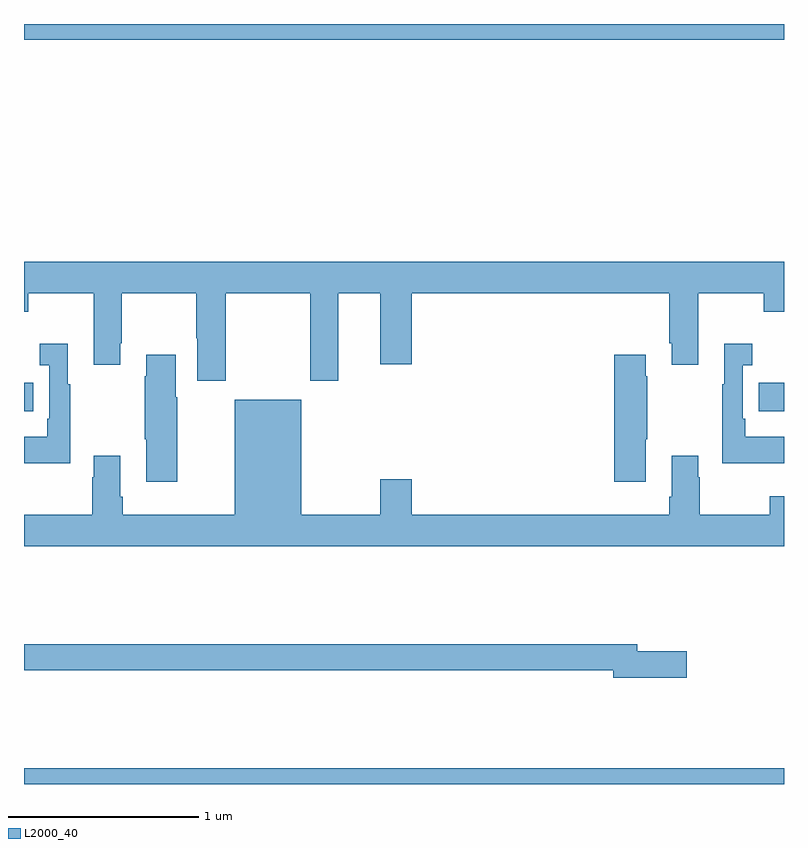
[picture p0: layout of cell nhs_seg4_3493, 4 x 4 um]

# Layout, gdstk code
import gdstk
lib = gdstk.Library(unit=1e-6, precision=1e-09)
def R(c, l, rs):  # rectangles x0, y0, x1, y1
    for r in rs: c.add(gdstk.rectangle(r[:2], r[2:], *l))
def P(c, l, *ps):  # polygons
    for p in ps: c.add(gdstk.Polygon(p, *l))
L2000_40 = (2000, 40)

nhs_seg4_3493 = lib.new_cell('nhs_seg4_3493')
R(nhs_seg4_3493, L2000_40, [(295,796.9,299,796.984), (295,798.863,295.049,799.011), (298.867,798.863,299,799.011), (295,800.816,299,800.9)])
P(nhs_seg4_3493, L2000_40, [(296.061,799.484),(296.506,799.484),(296.506,799.023),(296.653,799.023),(296.653,799.484),(296.876,799.484),(296.876,799.11),(297.04,799.11),(297.04,799.484),(298.397,799.484),(298.397,799.219),(298.409,799.219),(298.409,799.107),(298.549,799.107),(298.549,799.484),(298.894,799.484),(298.894,799.385),(299,799.385),(299,799.648),(295,799.648),(295,799.385),(295.023,799.385),(295.023,799.484),(295.367,799.484),(295.367,799.107),(295.507,799.107),(295.507,799.219),(295.515,799.219),(295.515,799.484),(295.906,799.484),(295.906,799.246),(295.913,799.246),(295.913,799.023),(296.061,799.023)],
  [(295.243,799.003),(295.231,799.003),(295.231,799.216),(295.083,799.216),(295.083,799.103),(295.134,799.103),(295.134,798.823),(295.122,798.823),(295.122,798.727),(295,798.727),(295,798.587),(295.243,798.587)],
  [(299,798.727),(298.795,798.727),(298.795,798.823),(298.782,798.823),(298.782,799.103),(298.834,799.103),(298.834,799.216),(298.685,799.216),(298.685,799.003),(298.674,799.003),(298.674,798.587),(299,798.587)],
  [(295.806,798.935),(295.798,798.935),(295.798,799.159),(295.643,799.159),(295.643,799.046),(295.636,799.046),(295.636,798.715),(295.643,798.715),(295.643,798.492),(295.806,798.492)],
  [(298.273,798.715),(298.281,798.715),(298.281,799.046),(298.273,799.046),(298.273,799.159),(298.106,799.159),(298.106,798.492),(298.273,798.492)],
  [(299,798.415),(298.924,798.415),(298.924,798.316),(298.557,798.316),(298.557,798.515),(298.549,798.515),(298.549,798.628),(298.409,798.628),(298.409,798.412),(298.397,798.412),(298.397,798.316),(297.04,798.316),(297.04,798.505),(296.876,798.505),(296.876,798.316),(296.458,798.316),(296.458,798.922),(296.108,798.922),(296.108,798.316),(295.52,798.316),(295.52,798.412),(295.507,798.412),(295.507,798.628),(295.367,798.628),(295.367,798.515),(295.36,798.515),(295.36,798.316),(295,798.316),(295,798.152),(299,798.152)],
  [(298.489,797.6),(298.228,797.6),(298.228,797.636),(295,797.636),(295,797.5),(298.1,797.5),(298.1,797.458),(298.489,797.458)])

lib.write_gds('nhs_seg4_3493.gds')
